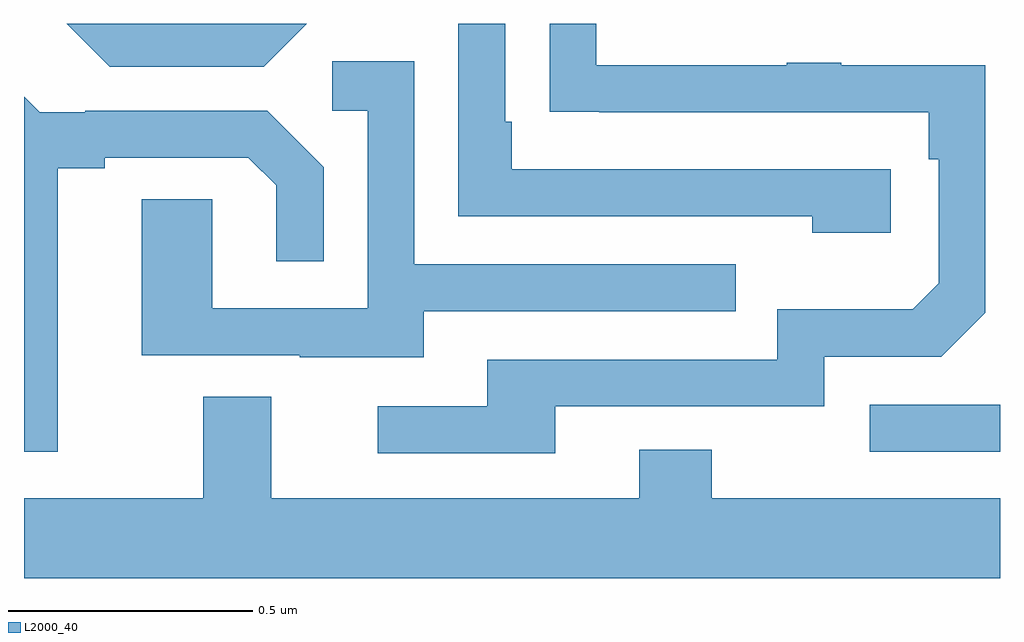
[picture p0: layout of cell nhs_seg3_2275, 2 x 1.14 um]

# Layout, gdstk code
import gdstk
lib = gdstk.Library(unit=1e-6, precision=1e-09)
def R(c, l, rs):  # rectangles x0, y0, x1, y1
    for r in rs: c.add(gdstk.rectangle(r[:2], r[2:], *l))
def P(c, l, *ps):  # polygons
    for p in ps: c.add(gdstk.Polygon(p, *l))
L2000_40 = (2000, 40)

nhs_seg3_2275 = lib.new_cell('nhs_seg3_2275')
R(nhs_seg3_2275, L2000_40, [(140.733,686.523,141,686.619)])
P(nhs_seg3_2275, L2000_40, [(139.579,687.4),(139.088,687.4),(139.176,687.312),(139.491,687.312)],
  [(140.776,687.102),(139.999,687.102),(139.999,687.199),(139.986,687.199),(139.986,687.4),(139.89,687.4),(139.89,687.006),(140.615,687.006),(140.615,686.972),(140.776,686.972)],
  [(140.089,686.616),(140.64,686.616),(140.64,686.718),(140.88,686.718),(140.97,686.808),(140.97,687.315),(140.675,687.315),(140.675,687.32),(140.563,687.32),(140.563,687.315),(140.173,687.315),(140.173,687.4),(140.077,687.4),(140.077,687.22),(140.179,687.22),(140.179,687.219),(140.854,687.219),(140.854,687.122),(140.874,687.122),(140.874,686.868),(140.821,686.815),(140.544,686.815),(140.544,686.712),(139.949,686.712),(139.949,686.616),(139.725,686.616),(139.725,686.52),(140.089,686.52)],
  [(139.819,686.811),(140.459,686.811),(140.459,686.907),(139.8,686.907),(139.8,687.323),(139.632,687.323),(139.632,687.222),(139.704,687.222),(139.704,686.817),(139.386,686.817),(139.386,687.041),(139.241,687.041),(139.241,686.721),(139.565,686.721),(139.565,686.717),(139.819,686.717)],
  [(139.069,687.104),(139.165,687.104),(139.165,687.126),(139.46,687.126),(139.517,687.069),(139.517,686.913),(139.614,686.913),(139.614,687.106),(139.498,687.222),(139.126,687.222),(139.126,687.219),(139.032,687.219),(139,687.251),(139,686.523),(139.069,686.523)],
  [(141,686.428),(140.409,686.428),(140.409,686.527),(140.261,686.527),(140.261,686.428),(139.507,686.428),(139.507,686.636),(139.367,686.636),(139.367,686.428),(139,686.428),(139,686.264),(141,686.264)])

lib.write_gds('nhs_seg3_2275.gds')
